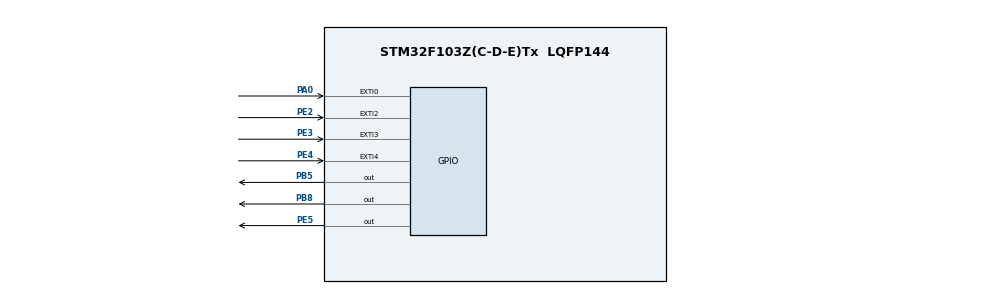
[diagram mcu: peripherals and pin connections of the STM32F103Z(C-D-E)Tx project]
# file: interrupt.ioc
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Mcu.Family=STM32F1
Mcu.Name=STM32F103Z(C-D-E)Tx
Mcu.Package=LQFP144
NVIC.EXTI0_IRQn=true\:1\:0\:true\:false\:true\:true\:true
NVIC.EXTI2_IRQn=true\:2\:0\:true\:false\:true\:true\:true
NVIC.EXTI3_IRQn=true\:3\:0\:true\:false\:true\:true\:true
NVIC.EXTI4_IRQn=true\:4\:0\:true\:false\:true\:true\:true
NVIC.PriorityGroup=NVIC_PRIORITYGROUP_3
OSC_IN.Mode=HSE-External-Oscillator
OSC_IN.Signal=RCC_OSC_IN
OSC_OUT.Mode=HSE-External-Oscillator
OSC_OUT.Signal=RCC_OSC_OUT
PA0-WKUP.GPIO_ModeDefaultEXTI=GPIO_MODE_IT_RISING_FALLING
PA0-WKUP.GPIO_PuPd=GPIO_PULLDOWN
PA0-WKUP.Signal=GPXTI0
PB5.GPIO_PuPd=GPIO_PULLUP
PB5.GPIO_Speed=GPIO_SPEED_FREQ_HIGH
PB5.PinState=GPIO_PIN_SET
PB5.Signal=GPIO_Output
PB8.GPIO_PuPd=GPIO_PULLDOWN
PB8.GPIO_Speed=GPIO_SPEED_FREQ_HIGH
PB8.PinState=GPIO_PIN_RESET
PB8.Signal=GPIO_Output
PC14-OSC32_IN.Mode=LSE-External-Oscillator
PC14-OSC32_IN.Signal=RCC_OSC32_IN
PC15-OSC32_OUT.Mode=LSE-External-Oscillator
PC15-OSC32_OUT.Signal=RCC_OSC32_OUT
PE2.GPIO_ModeDefaultEXTI=GPIO_MODE_IT_RISING_FALLING
PE2.GPIO_PuPd=GPIO_PULLUP
PE2.Signal=GPXTI2
PE3.GPIO_ModeDefaultEXTI=GPIO_MODE_IT_RISING_FALLING
PE3.GPIO_PuPd=GPIO_PULLUP
PE3.Signal=GPXTI3
PE4.GPIO_ModeDefaultEXTI=GPIO_MODE_IT_RISING_FALLING
PE4.GPIO_PuPd=GPIO_PULLUP
PE4.Signal=GPXTI4
PE5.GPIO_ModeDefaultOutputPP=GPIO_MODE_OUTPUT_PP
PE5.GPIO_PuPd=GPIO_PULLUP
PE5.GPIO_Speed=GPIO_SPEED_FREQ_HIGH
PE5.PinState=GPIO_PIN_SET
PE5.Signal=GPIO_Output
ProjectManager.HeapSize=0x200
ProjectManager.StackSize=0x400
ProjectManager.TargetToolchain=MDK-ARM V5
RCC.APB1Freq_Value=8000000
RCC.APB2Freq_Value=8000000
VP_SYS_VS_ND.Mode=No_Debug
board=custom

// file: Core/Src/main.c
/* USER CODE BEGIN Header */
/**
  ******************************************************************************
  * @file           : main.c
  * @brief          : Main program body
  ******************************************************************************
  * @attention
  *
  * <h2><center>&copy; Copyright (c) 2026 STMicroelectronics.
  * All rights reserved.</center></h2>
  *
  * This software component is licensed by ST under BSD 3-Clause license,
  * the "License"; You may not use this file except in compliance with the
  * License. You may obtain a copy of the License at:
  *                        opensource.org/licenses/BSD-3-Clause
  *
  ******************************************************************************
  */
/* USER CODE END Header */
#include "main.h"
#include "gpio.h"

/* USER CODE BEGIN PD */
/* 按键编号：PA0 高电平按下；PE2、PE3、PE4 低电平按下。 */
#define KEY_PA0          0U
#define KEY_PE2          1U
#define KEY_PE3          2U
#define KEY_PE4          3U
#define KEY_COUNT        4U

#define KEY_EVENT_NONE   0U
#define KEY_EVENT_SHORT  1U
#define KEY_EVENT_LONG   2U
/* USER CODE END PD */

/* USER CODE BEGIN PV */
static volatile uint8_t key_event[KEY_COUNT] = {0U};
static uint32_t press_time[KEY_COUNT] = {0U};
static uint8_t press_flag[KEY_COUNT] = {0U};
/* USER CODE END PV */

void SystemClock_Config(void);

/* USER CODE BEGIN 0 */
/* 每个键独立计时；松手时分类，忽略短于 50 ms 的触碰。 */
static void Key_HandleEdge(uint8_t key, uint8_t is_pressed)
{
  uint32_t hold_time;
  uint32_t now = HAL_GetTick();

  if (is_pressed != 0U)
  {
    if (press_flag[key] == 0U)
    {
      press_time[key] = now;
      press_flag[key] = 1U;
    }
  }
  else if (press_flag[key] != 0U)
  {
    hold_time = now - press_time[key];
    press_flag[key] = 0U;

    if (hold_time >= 1000U)
      key_event[key] = KEY_EVENT_LONG;
    else if (hold_time >= 50U)
      key_event[key] = KEY_EVENT_SHORT;
  }
}
/* USER CODE END 0 */

int main(void)
{
  /* USER CODE BEGIN 1 */
uint8_t key;
uint8_t event;
/* USER CODE END 1 */

  /* MCU Configuration--------------------------------------------------------*/

  /* Reset of all peripherals, Initializes the Flash interface and the Systick. */
  HAL_Init();

  /* Configure the system clock */
  SystemClock_Config();

  /* Initialize all configured peripherals */
  MX_GPIO_Init();

  /* Infinite loop */
  while (1)
  {

    /* USER CODE BEGIN 3 */
    for (key = 0U; key < KEY_COUNT; ++key)
    {
      __disable_irq();
      event = key_event[key];
      key_event[key] = KEY_EVENT_NONE;
      __enable_irq();

      /* 沿用原功能：任意键短按翻转 PB5，长按翻转 PE5。 */
      if (event == KEY_EVENT_SHORT)
        HAL_GPIO_TogglePin(GPIOB, GPIO_PIN_5);
      else if (event == KEY_EVENT_LONG)
        HAL_GPIO_TogglePin(GPIOE, GPIO_PIN_5);
    }
  }
  /* USER CODE END 3 */
}

void SystemClock_Config(void)
{
  RCC_OscInitTypeDef RCC_OscInitStruct = {0};
  RCC_ClkInitTypeDef RCC_ClkInitStruct = {0};

  /** Initializes the RCC Oscillators according to the specified parameters
  * in the RCC_OscInitTypeDef structure.
  */
  RCC_OscInitStruct.OscillatorType = RCC_OSCILLATORTYPE_HSI;
  RCC_OscInitStruct.HSIState = RCC_HSI_ON;
  RCC_OscInitStruct.HSICalibrationValue = RCC_HSICALIBRATION_DEFAULT;
  RCC_OscInitStruct.PLL.PLLState = RCC_PLL_NONE;
  if (HAL_RCC_OscConfig(&RCC_OscInitStruct) != HAL_OK)
  {
    Error_Handler();
  }
  /** Initializes the CPU, AHB and APB buses clocks
  */
  RCC_ClkInitStruct.ClockType = RCC_CLOCKTYPE_HCLK|RCC_CLOCKTYPE_SYSCLK
                              |RCC_CLOCKTYPE_PCLK1|RCC_CLOCKTYPE_PCLK2;
  RCC_ClkInitStruct.SYSCLKSource = RCC_SYSCLKSOURCE_HSI;
  RCC_ClkInitStruct.AHBCLKDivider = RCC_SYSCLK_DIV1;
  RCC_ClkInitStruct.APB1CLKDivider = RCC_HCLK_DIV1;
  RCC_ClkInitStruct.APB2CLKDivider = RCC_HCLK_DIV1;

  if (HAL_RCC_ClockConfig(&RCC_ClkInitStruct, FLASH_LATENCY_0) != HAL_OK)
  {
    Error_Handler();
  }
}

/* USER CODE BEGIN 4 */
/* EXTI0/2/3/4 的入口由 CubeMX 写在 stm32f1xx_it.c。 */
void HAL_GPIO_EXTI_Callback(uint16_t GPIO_Pin)
{
  uint8_t key;
  uint8_t is_pressed;

  switch (GPIO_Pin)
  {
    case GPIO_PIN_0:
      key = KEY_PA0;
      is_pressed = (HAL_GPIO_ReadPin(GPIOA, GPIO_PIN_0) == GPIO_PIN_SET);
      break;
    case GPIO_PIN_2:
      key = KEY_PE2;
      is_pressed = (HAL_GPIO_ReadPin(GPIOE, GPIO_PIN_2) == GPIO_PIN_RESET);
      break;
    case GPIO_PIN_3:
      key = KEY_PE3;
      is_pressed = (HAL_GPIO_ReadPin(GPIOE, GPIO_PIN_3) == GPIO_PIN_RESET);
      break;
    case GPIO_PIN_4:
      key = KEY_PE4;
      is_pressed = (HAL_GPIO_ReadPin(GPIOE, GPIO_PIN_4) == GPIO_PIN_RESET);
      break;
    default:
      return;
  }

  Key_HandleEdge(key, is_pressed);
}
/* USER CODE END 4 */

void Error_Handler(void)
{
  __disable_irq();
  while (1)
  {
  }
}

/************************ (C) COPYRIGHT STMicroelectronics *****END OF FILE****/
